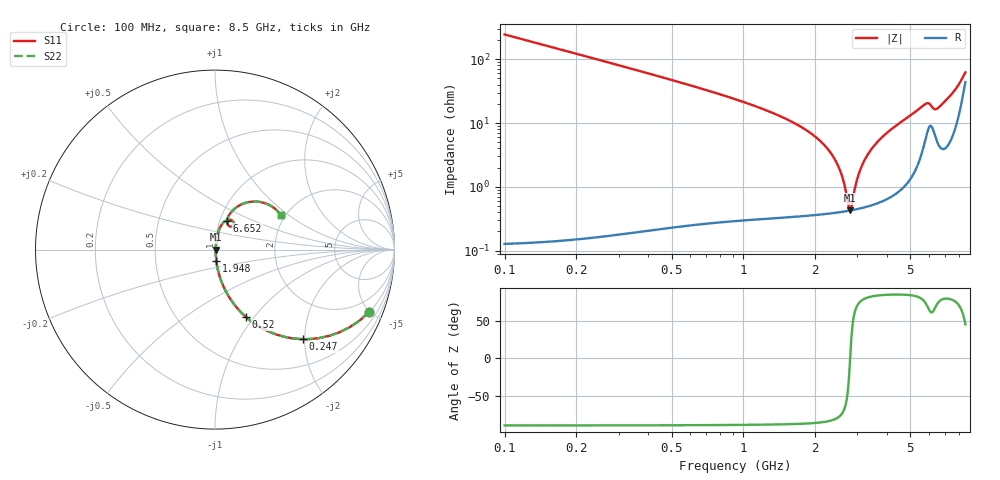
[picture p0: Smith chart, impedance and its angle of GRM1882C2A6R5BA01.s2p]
!Murata Part Number: GRM1882C2A6R5BA01
!These Parameters are Measured in Series Mode Connection
!Data Generated on Mar 30, 2021
!  o--ll--o
!Port1  Port2
!  o------o
!Operation Temp=25[degC], DC Bias Voltage=0[V]
!Freq. Start=100[MHz] Stop=9[GHz] 401[Steps]
# Hz S RI R 50
!Freq.(Hz) S11(Real) S11(Imag) S21(Real) S21(Imag) S12(Real) S12(Imag) S22(Real) S22(Imag)
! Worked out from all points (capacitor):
!   401 points, 100 MHz to 8.5 GHz, reference 50 ohm
!   read as one part in series: C = 6.5 pF near 142 MHz
!   lowest |Z| = 429 mohm at 2.788 GHz (marker M1)
!   series resonance near 2.798 GHz, so ESL is about 500 pH
!   S11 on the Smith chart (normalised r, x): 100 MHz: 1.00, -4.89; 247 MHz: 1.00, -1.97; 520 MHz: 1.00, -0.91; 1.948 GHz: 1.01, -0.13; 6.652 GHz: 1.08, +0.36; 8.5 GHz: 1.88, +0.89
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1e8  0.8566 -0.3502  0.1434 0.3502  0.1434 0.3502  0.8566 -0.3502
2.47e8  0.4915 -0.4991  0.5085 0.4991  0.5085 0.4991  0.4915 -0.4991
3.73e8  0.2939 -0.454  0.7061 0.454  0.7061 0.454  0.2939 -0.454
5.2e8  0.1723 -0.3751  0.8277 0.3751  0.8277 0.3751  0.1723 -0.3751
8.77e8  0.062 -0.2356  0.938 0.2356  0.938 0.2356  0.062 -0.2356
1.507e9  0.0165 -0.1139  0.9835 0.1139  0.9835 0.1139  0.0165 -0.1139
1.948e9  0.00782 -0.065  0.9922 0.065  0.9922 0.065  0.00782 -0.065
2.473e9  0.00443 -0.0221  0.9956 0.0221  0.9956 0.0221  0.00443 -0.0221
2.599e9  0.00422 -0.0132  0.9958 0.0132  0.9958 0.0132  0.00422 -0.0132
2.788e9  0.00423 -0.000643  0.9958 0.000643  0.9958 0.000643  0.00423 -0.000643
2.83e9  0.00427 0.00206  0.9957 -0.00206  0.9957 -0.00206  0.00427 0.00206
2.914e9  0.00442 0.00736  0.9956 -0.00736  0.9956 -0.00736  0.00442 0.00736
3.082e9  0.00488 0.0176  0.9951 -0.0176  0.9951 -0.0176  0.00488 0.0176
3.355e9  0.00609 0.0336  0.9939 -0.0336  0.9939 -0.0336  0.00609 0.0336
3.754e9  0.00888 0.0558  0.9911 -0.0558  0.9911 -0.0558  0.00888 0.0558
4.3e9  0.0149 0.0855  0.9851 -0.0855  0.9851 -0.0855  0.0149 0.0855
5.707e9  0.0733 0.1659  0.9267 -0.1659  0.9267 -0.1659  0.0733 0.1659
6.316e9  0.0809 0.1297  0.9191 -0.1297  0.9191 -0.1297  0.0809 0.1297
6.652e9  0.0676 0.1599  0.9324 -0.1599  0.9324 -0.1599  0.0676 0.1599
7.114e9  0.0863 0.204  0.9137 -0.204  0.9137 -0.204  0.0863 0.204
8.038e9  0.2225 0.2678  0.7775 -0.2678  0.7775 -0.2678  0.2225 0.2678
8.5e9  0.3652 0.1953  0.6348 -0.1953  0.6348 -0.1953  0.3652 0.1953
